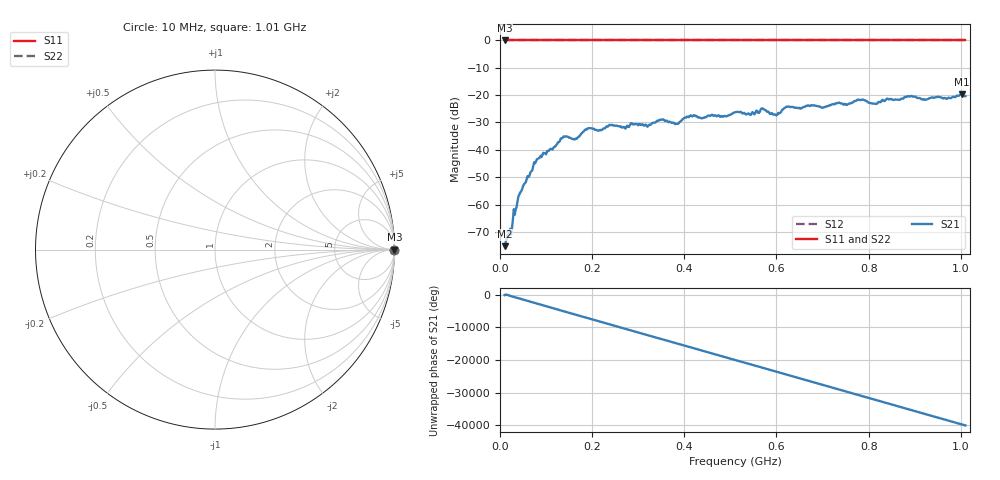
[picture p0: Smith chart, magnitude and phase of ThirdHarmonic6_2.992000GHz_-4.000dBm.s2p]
! 8/17/2025 8:31:44 AM
! C:\ANRITSUVNA\TEMP\TEMP.S2P
! CHANNEL.1
! TR.MEASUREMENT
! RAW.DATA
! RF.CORRECTION.OFF
! AVERAGING.OFF
! IF.BANDWIDTH: 5KHZ
! SWEEPTYPE:  FREQ.SWEEP(Linear)
! Reference Plane Port Info
! PORT:  PORT1  PORT2
! DISTANCE:  0  m  0  m
! TIME:  0  s  0  s
! PHASE.OFFSET:  0  deg.  0  deg.
! LOSS:  0  dB  0  dB
! REF.LOSS:  0  dB  0  dB
! REF.FREQ:  0  Hz  0  Hz
! Power Info
! POWER:  -20  dBm  -20  dBm
! EFF.POWER:  -20  dBm  -20  dBm
! SOURCE.ATTEN:  0  dB  0  dB
! TEST.ATTEN:  0  dB  0  dB
# GHZ S RI R 50.0
! FREQ.GHZ  S11RE  S11IM  S21RE  S21IM  S12RE  S12IM  S22RE  S22IM
!; PortSelection: Port_12
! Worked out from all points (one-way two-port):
!   501 points, 10 MHz to 1.01 GHz, reference 50 ohm
!   highest |S21| = -19.75 dB at 1.002 GHz (marker M1); lowest = -75.2 dB at 10 MHz (marker M2)
!   lowest |S11| = 0.0 dB at 10 MHz (marker M3)
!   |S11| at or under -10 dB: nowhere
!   |S22| runs from 0.0 to 0.0 dB; largest |S21 - S12| = 1.1
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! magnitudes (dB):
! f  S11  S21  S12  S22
! 10 MHz  0.0  -75.2  0.0  0.0
! 22 MHz  0.0  -68.9  0.0  0.0
! 42 MHz  0.0  -56.3  0.0  0.0
! 78 MHz  0.0  -44.3  0.0  0.0
! 136 MHz  0.0  -35.6  0.0  0.0
! 162 MHz  0.0  -36.2  0.0  0.0
! 178 MHz  0.0  -33.8  0.0  0.0
! 194 MHz  0.0  -32.1  0.0  0.0
! 322 MHz  0.0  -31.1  0.0  0.0
! 344 MHz  0.0  -29.4  0.0  0.0
! 384 MHz  0.0  -30.4  0.0  0.0
! 410 MHz  0.0  -28.0  0.0  0.0
! 510 MHz  0.0  -26.3  0.0  0.0
! 570 MHz  0.0  -24.8  0.0  0.0
! 598 MHz  0.0  -27.2  0.0  0.0
! 624 MHz  0.0  -24.3  0.0  0.0
! 678 MHz  0.0  -23.7  0.0  0.0
! 780 MHz  0.0  -21.8  0.0  0.0
! 814 MHz  0.0  -23.1  0.0  0.0
! 844 MHz  0.0  -21.5  0.0  0.0
! 1.002 GHz  0.0  -19.8  0.0  0.0
! 1.01 GHz  0.0  -20.3  0.0  0.0
